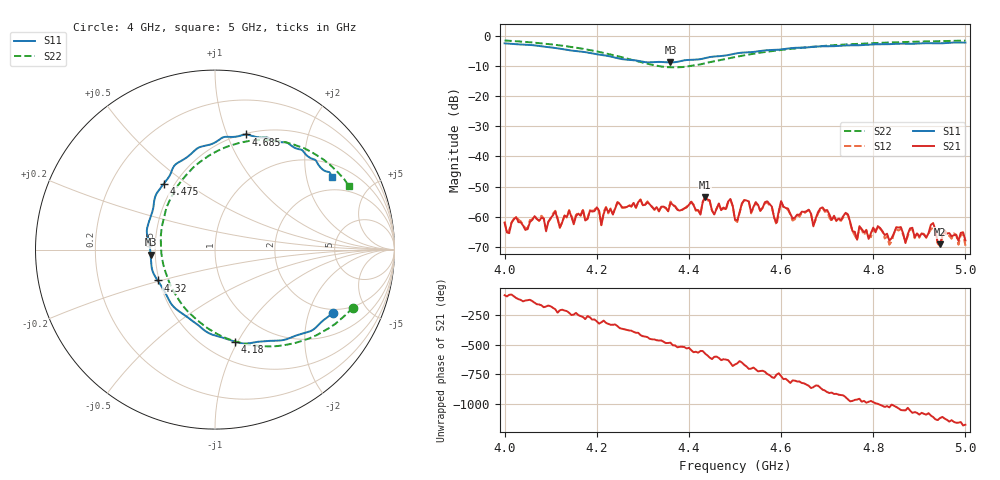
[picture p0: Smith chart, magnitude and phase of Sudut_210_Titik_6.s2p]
# Hz S RI R 50
! CMT, C1220, 16058040, 17.2.0/1
! Date: 15/08/2018 12:12:14
! Data: Format (Calibration Info)
! Freq  S11: Re/Im (F2)  S21: Re/Im (F2)  S12: Re/Im (F2)  S22: Re/Im (F2)
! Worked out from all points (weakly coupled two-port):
!   201 points, 4 GHz to 5 GHz, reference 50 ohm
!   highest |S21| = -53.49 dB at 4.435 GHz (marker M1); lowest = -69.1 dB at 4.945 GHz (marker M2)
!   lowest |S11| = -8.9 dB at 4.36 GHz (marker M3), VSWR 2.13, Z = 23.6 - j1.55 ohm
!   |S11| at or under -10 dB: nowhere
!   |S22| runs from -10.5 to -1.6 dB; largest |S21 - S12| = 0.00013
!   S11 on the Smith chart (normalised r, x): 4 GHz: 1.81, -2.90; 4.18 GHz: 0.69, -0.98; 4.32 GHz: 0.49, -0.19; 4.475 GHz: 0.44, +0.41; 4.685 GHz: 0.51, +1.17; 5 GHz: 1.44, +2.84
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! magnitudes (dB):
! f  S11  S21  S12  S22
! 4 GHz  -2.5  -62.0  -61.5  -1.6
! 4.09 GHz  -3.7  -64.8  -63.9  -2.7
! 4.17 GHz  -5.3  -57.7  -57.4  -4.4
! 4.18 GHz  -5.6  -60.7  -60.4  -4.6
! 4.32 GHz  -8.8  -56.8  -56.6  -9.6
! 4.335 GHz  -8.7  -58.1  -58.2  -10.1
! 4.36 GHz  -8.9  -55.3  -54.9  -10.5
! 4.425 GHz  -7.8  -59.3  -59.1  -9.5
! 4.435 GHz  -7.4  -53.5  -53.5  -9.2
! 4.475 GHz  -6.7  -56.9  -57.1  -7.9
! 4.49 GHz  -6.3  -54.1  -54.2  -7.4
! 4.5 GHz  -5.9  -60.8  -61.0  -7.1
! 4.57 GHz  -4.8  -54.8  -55.3  -5.3
! 4.59 GHz  -4.7  -62.0  -62.7  -4.9
! 4.6 GHz  -4.6  -54.8  -55.0  -4.7
! 4.67 GHz  -3.7  -63.1  -62.7  -3.7
! 4.685 GHz  -3.6  -57.2  -57.6  -3.5
! 4.835 GHz  -2.8  -67.9  -69.2  -2.3
! 4.93 GHz  -2.5  -62.0  -63.4  -1.9
! 4.945 GHz  -2.6  -69.1  -69.7  -1.8
! 4.955 GHz  -2.5  -64.4  -64.7  -1.8
! 5 GHz  -2.3  -67.8  -69.5  -1.6
